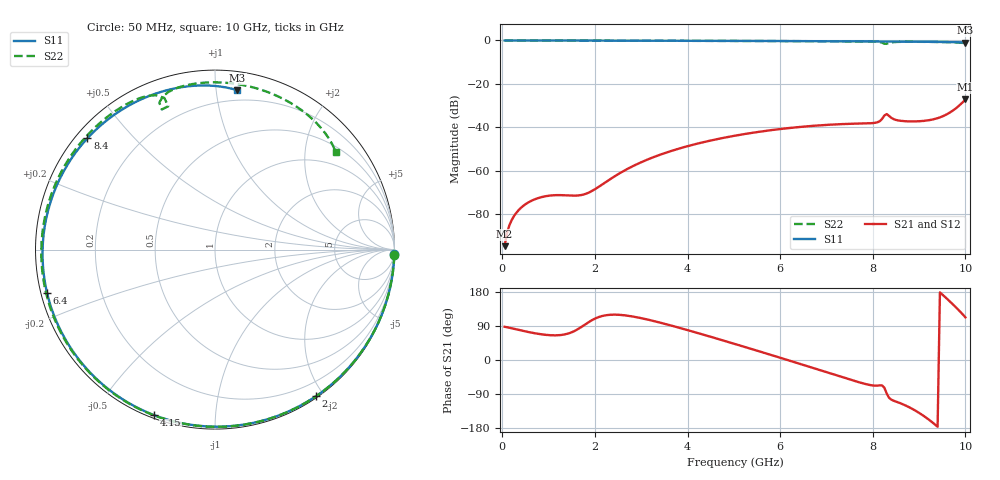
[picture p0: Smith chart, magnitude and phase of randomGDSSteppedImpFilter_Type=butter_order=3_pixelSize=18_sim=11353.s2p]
! freq	dB(S11)	phase(S11)	dB(S12)	phase(S12)
!  dB(S21)	phase(S21)	dB(S22)	phase(S22)
!S-par simulation data
#  GHz  S  DB  R 50
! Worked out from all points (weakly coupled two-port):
!   200 points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, 50 MHz to 10 GHz, reference 50 ohm
!   highest |S21| = -27.21 dB at 10 GHz (marker M1); lowest = -94.8 dB at 50 MHz (marker M2)
!   lowest |S11| = -0.9 dB at 10 GHz (marker M3), VSWR 18.40, Z = 6.29 + j57.1 ohm
!   |S11| at or under -10 dB: nowhere
!   |S22| runs from -1.6 to 0.0 dB; largest |S21 - S12| = 0
!   S11 on the Smith chart (normalised r, x): 50 MHz: 1, -80; 2 GHz: 0.02, -1.91; 4.15 GHz: 0.01, -0.70; 6.4 GHz: 0.02, -0.13; 8.4 GHz: 0.03, +0.37; 10 GHz: 0.13, +1.14
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0.05  -0.00 -1.4  -94.82 87.6  -94.82 87.6  -0.00 -1.7
0.3  -0.01 -8.5  -79.53 81.0  -79.53 81.0  -0.01 -10.1
0.55  -0.02 -15.5  -74.82 74.2  -74.82 74.2  -0.02 -18.4
0.85  -0.03 -23.9  -72.19 67.7  -72.19 67.7  -0.03 -28.4
1.75  -0.06 -48.6  -71.04 90.6  -71.04 90.6  -0.07 -57.3
2  -0.07 -55.3  -68.58 109.1  -68.58 109.1  -0.08 -65.1
2.7  -0.09 -73.7  -59.25 117.0  -59.25 117.0  -0.11 -86.2
3.4  -0.12 -91.6  -52.72 98.9  -52.72 98.9  -0.13 -106.4
4.15  -0.15 -110.2  -47.89 73.7  -47.89 73.7  -0.17 -127.3
5.05  -0.20 -132.2  -43.80 41.3  -43.80 41.3  -0.22 -151.9
6.4  -0.30 -165.6  -39.93 -9.1  -39.93 -9.1  -0.31 170.2
6.7  -0.32 -173.3  -39.37 -20.6  -39.37 -20.6  -0.34 161.3
7.3  -0.38 170.8  -38.59 -43.6  -38.59 -43.6  -0.39 142.6
7.9  -0.45 153.9  -38.19 -65.0  -38.19 -65.0  -0.46 121.9
8.15  -0.48 146.5  -37.22 -67.0  -37.22 -67.0  -0.71 111.0
8.25  -0.49 143.5  -34.60 -73.1  -34.60 -73.1  -1.51 108.1
8.35  -0.50 140.5  -34.76 -99.5  -34.76 -99.5  -1.16 110.8
8.4  -0.51 138.9  -35.66 -104.6  -35.66 -104.6  -0.89 108.8
8.8  -0.56 126.2  -37.31 -125.5  -37.31 -125.5  -0.61 91.9
9.3  -0.64 109.1  -36.40 -165.9  -36.40 -165.9  -0.67 71.4
9.65  -0.73 96.1  -33.41 156.2  -33.41 156.2  -0.80 56.1
10  -0.94 82.0  -27.21 112.6  -27.21 112.6  -1.25 39.1
